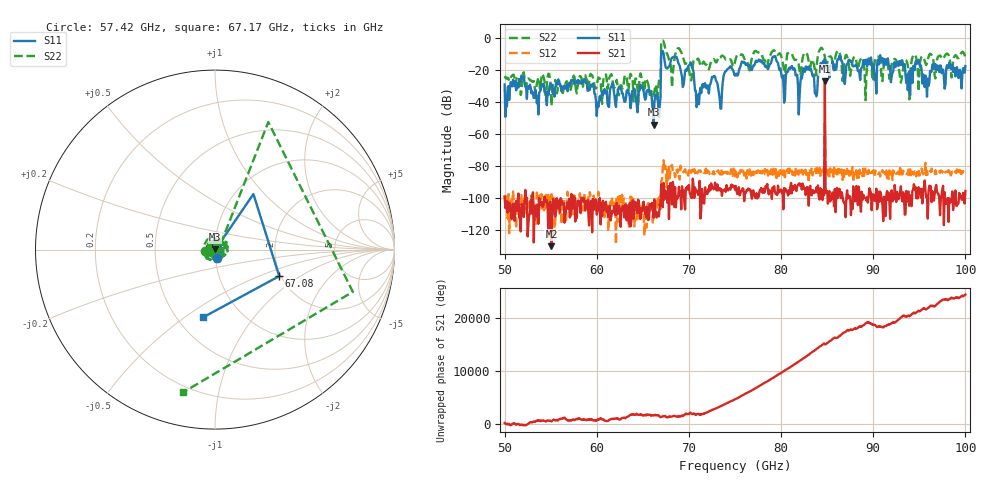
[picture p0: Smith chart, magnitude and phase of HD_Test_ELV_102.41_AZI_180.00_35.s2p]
! 11/25/2026 9:22:57 AM
! C:\ANRITSUVNA\TEMP\TEMP.S2P
! CHANNEL.1
! TR.MEASUREMENT
! RAW.DATA
# HZ S RI R 50.0
! FREQ.HZ  S11RE  S11IM  S21RE  S21IM  S12RE  S12IM  S22RE  S22IM
!; PortSelection: Port_12
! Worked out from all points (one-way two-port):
!   601 points, 50 GHz to 100 GHz, reference 50 ohm
!   highest |S21| = -27.25 dB at 84.75 GHz (marker M1); lowest = -130.0 dB at 55.08 GHz (marker M2)
!   lowest |S11| = -54.3 dB at 66.17 GHz (marker M3), VSWR 1.00, Z = 50.1 + j0.15 ohm
!   |S11| at or under -10 dB: start of sweep to 67 GHz; 67.24 GHz to end of sweep
!   |S22| runs from -42.6 to -1.8 dB; largest |S21 - S12| = 0.043
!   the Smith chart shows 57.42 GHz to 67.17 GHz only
!   S11 on the Smith chart (normalised r, x): 57.42 GHz: 1.02, -0.10; 67.08 GHz: 1.96, -0.68; 67.17 GHz: 0.67, -0.59
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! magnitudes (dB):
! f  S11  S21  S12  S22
! 50 GHz  -29.2  -99.0  -98.8  -25.4
! 55.08 GHz  -29.0  -130.0  -97.6  -42.6
! 57.42 GHz  -26.3  -98.4  -110.0  -25.2
! 58.42 GHz  -27.2  -100.4  -99.7  -29.0
! 60.17 GHz  -43.2  -107.0  -96.2  -24.8
! 61.67 GHz  -28.7  -108.2  -99.8  -24.5
! 66.17 GHz  -54.3  -112.3  -108.6  -35.4
! 66.67 GHz  -41.9  -111.3  -104.3  -32.1
! 67.08 GHz  -8.2  -93.0  -88.5  -1.9
! 67.17 GHz  -8.3  -105.7  -81.3  -1.8
! 70.17 GHz  -15.4  -97.9  -85.0  -25.7
! 70.92 GHz  -40.5  -95.5  -84.6  -13.3
! 75 GHz  -23.7  -94.8  -86.5  -15.0
! 79.25 GHz  -11.8  -92.6  -83.3  -7.9
! 80.25 GHz  -27.5  -107.0  -83.0  -17.6
! 83.42 GHz  -23.8  -95.1  -85.9  -13.7
! 84.75 GHz  -13.0  -27.3  -52.2  -11.8
! 91.67 GHz  -16.7  -96.7  -88.0  -20.4
! 93.75 GHz  -32.7  -96.0  -85.4  -17.3
! 94.83 GHz  -15.0  -100.3  -84.4  -20.3
! 95.83 GHz  -36.8  -98.7  -83.1  -15.9
! 100 GHz  -17.7  -95.6  -83.9  -12.2
